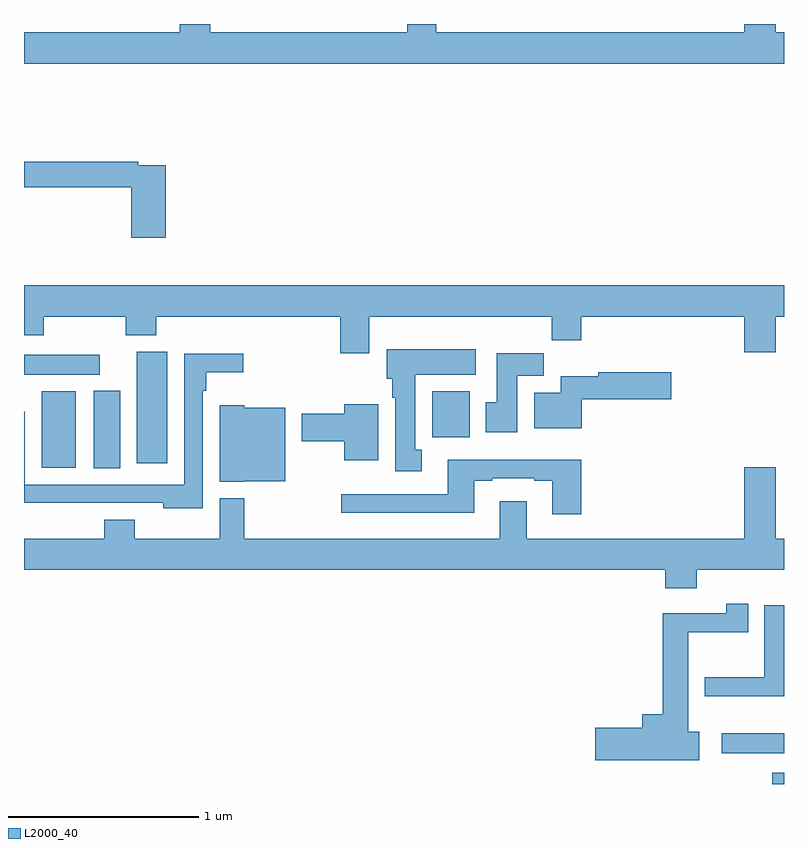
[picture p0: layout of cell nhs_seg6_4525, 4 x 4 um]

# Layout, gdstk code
import gdstk
lib = gdstk.Library(unit=1e-6, precision=1e-09)
def R(c, l, rs):  # rectangles x0, y0, x1, y1
    for r in rs: c.add(gdstk.rectangle(r[:2], r[2:], *l))
def P(c, l, *ps):  # polygons
    for p in ps: c.add(gdstk.Polygon(p, *l))
L2000_40 = (2000, 40)

nhs_seg6_4525 = lib.new_cell('nhs_seg6_4525')
R(nhs_seg6_4525, L2000_40, [(380.939,987.5,381,987.559), (380.673,987.662,381,987.766), (377.366,989.161,377.506,989.569), (377.093,989.165,377.272,989.566), (377.594,989.187,377.755,989.776), (379.148,989.324,379.345,989.566), (377,989.654,377.398,989.758)])
P(nhs_seg6_4525, L2000_40, [(381,991.456),(380.956,991.456),(380.956,991.5),(380.792,991.5),(380.792,991.456),(379.169,991.456),(379.169,991.5),(379.016,991.5),(379.016,991.456),(377.979,991.456),(377.979,991.5),(377.819,991.5),(377.819,991.456),(377,991.456),(377,991.292),(381,991.292)],
  [(377.747,990.756),(377.6,990.756),(377.6,990.776),(377,990.776),(377,990.64),(377.564,990.64),(377.564,990.375),(377.747,990.375)],
  [(378.817,989.96),(379.777,989.96),(379.777,989.836),(379.934,989.836),(379.934,989.96),(380.792,989.96),(380.792,989.772),(380.956,989.772),(380.956,989.96),(381,989.96),(381,990.124),(377,990.124),(377,989.861),(377.103,989.861),(377.103,989.96),(377.536,989.96),(377.536,989.861),(377.696,989.861),(377.696,989.96),(378.665,989.96),(378.665,989.766),(378.817,989.766)],
  [(379.093,989.258),(379.06,989.258),(379.06,989.654),(379.378,989.654),(379.378,989.788),(378.908,989.788),(378.908,989.634),(378.938,989.634),(378.938,989.534),(378.953,989.534),(378.953,989.145),(379.093,989.145)],
  [(379.597,989.648),(379.736,989.648),(379.736,989.767),(379.487,989.767),(379.487,989.508),(379.43,989.508),(379.43,989.352),(379.597,989.352)],
  [(377.94,989.57),(377.96,989.57),(377.96,989.666),(378.154,989.666),(378.154,989.765),(377.844,989.765),(377.844,989.076),(377.005,989.076),(377.005,989.459),(377,989.459),(377,988.979),(377.339,988.979),(377.339,988.98),(377.733,988.98),(377.733,988.952),(377.94,988.952)],
  [(379.936,989.525),(380.407,989.525),(380.407,989.667),(380.022,989.667),(380.022,989.647),(379.826,989.647),(379.826,989.56),(379.685,989.56),(379.685,989.372),(379.936,989.372)],
  [(378.865,989.5),(378.686,989.5),(378.686,989.45),(378.461,989.45),(378.461,989.303),(378.686,989.303),(378.686,989.204),(378.865,989.204)],
  [(378.159,989.093),(378.376,989.093),(378.376,989.479),(378.159,989.479),(378.159,989.494),(378.029,989.494),(378.029,989.09),(378.159,989.09)],
  [(379.934,989.206),(379.229,989.206),(379.229,989.025),(378.669,989.025),(378.669,988.928),(379.369,988.928),(379.369,989.097),(379.465,989.097),(379.465,989.109),(379.685,989.109),(379.685,989.097),(379.781,989.097),(379.781,988.92),(379.934,988.92)],
  [(379.505,988.987),(379.505,988.792),(378.158,988.792),(378.158,989.005),(378.029,989.005),(378.029,988.792),(377.583,988.792),(377.583,988.891),(377.423,988.891),(377.423,988.792),(377,988.792),(377,988.628),(380.375,988.628),(380.375,988.529),(380.54,988.529),(380.54,988.628),(381,988.628),(381,988.792),(380.956,988.792),(380.956,989.167),(380.792,989.167),(380.792,988.792),(379.645,988.792),(379.645,988.987)],
  [(380.554,987.776),(380.497,987.776),(380.497,988.3),(380.812,988.3),(380.812,988.45),(380.695,988.45),(380.695,988.399),(380.363,988.399),(380.363,987.868),(380.255,987.868),(380.255,987.797),(380.007,987.797),(380.007,987.626),(380.554,987.626)],
  [(381,988.442),(380.897,988.442),(380.897,988.062),(380.582,988.062),(380.582,987.962),(381,987.962)])

lib.write_gds('nhs_seg6_4525.gds')
